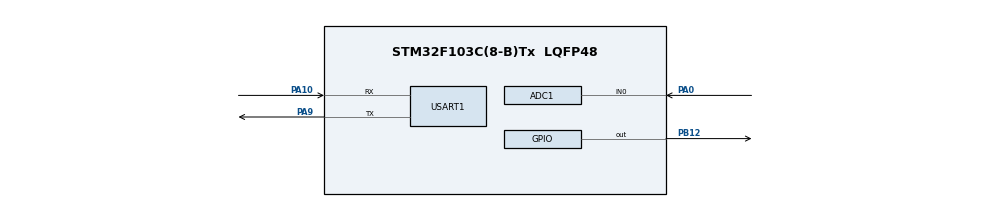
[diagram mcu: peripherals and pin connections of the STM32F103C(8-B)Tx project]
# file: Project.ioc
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ADC1.Channel-0\#ChannelRegularConversion=ADC_CHANNEL_0
ADC1.ContinuousConvMode=DISABLE
ADC1.EnableInjectedConversion=ENABLE
ADC1.ExternalTrigConv=ADC_EXTERNALTRIGCONV_T3_TRGO
ADC1.NbrOfConversion=1
ADC1.NbrOfConversionFlag=1
ADC1.Rank-0\#ChannelRegularConversion=1
ADC1.SamplingTime-0\#ChannelRegularConversion=ADC_SAMPLETIME_1CYCLE_5
ADC1.master=1
Mcu.Family=STM32F1
Mcu.Name=STM32F103C(8-B)Tx
Mcu.Package=LQFP48
NVIC.ADC1_2_IRQn=true\:0\:0\:false\:false\:true\:true\:true
NVIC.PriorityGroup=NVIC_PRIORITYGROUP_4
NVIC.TIM2_IRQn=true\:0\:0\:false\:false\:true\:true\:true
NVIC.USART1_IRQn=true\:0\:0\:false\:false\:true\:true\:true
PA0-WKUP.Signal=ADCx_IN0
PA10.Mode=Asynchronous
PA10.Signal=USART1_RX
PA13.Mode=Serial_Wire
PA13.Signal=SYS_JTMS-SWDIO
PA14.Mode=Serial_Wire
PA14.Signal=SYS_JTCK-SWCLK
PA9.Mode=Asynchronous
PA9.Signal=USART1_TX
PB12.Signal=GPIO_Output
ProjectManager.HeapSize=0x200
ProjectManager.StackSize=0x400
ProjectManager.TargetToolchain=MDK-ARM V5.27
RCC.APB1Freq_Value=8000000
RCC.APB2Freq_Value=8000000
SH.ADCx_IN0.0=ADC1_IN0,IN0
TIM2.Period=60000
TIM2.Prescaler=8000
TIM3.Period=6
TIM3.Prescaler=8000
TIM3.TIM_MasterOutputTrigger=TIM_TRGO_UPDATE
USART1.VirtualMode=VM_ASYNC
VP_TIM2_VS_ClockSourceINT.Mode=Internal
VP_TIM3_VS_ClockSourceINT.Mode=Internal
board=custom

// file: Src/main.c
/* USER CODE BEGIN Header */
/**
  ******************************************************************************
  * @file           : main.c
  * @brief          : Main program body
  ******************************************************************************
  * @attention
  *
  * <h2><center>&copy; Copyright (c) 2020 STMicroelectronics.
  * All rights reserved.</center></h2>
  *
  * This software component is licensed by ST under BSD 3-Clause license,
  * the "License"; You may not use this file except in compliance with the
  * License. You may obtain a copy of the License at:
  *                        opensource.org/licenses/BSD-3-Clause
  *
  ******************************************************************************
  */
/* USER CODE END Header */

#include "main.h"

/* USER CODE BEGIN Includes */
#include <stdio.h>
#include "string.h"
#include <stdlib.h>

#define COMMAND_SIZE 6
#define minRR 600
#define maxRR 1200
#define maxThreshold 3800
/* USER CODE END Includes */

ADC_HandleTypeDef hadc1;

TIM_HandleTypeDef htim2;
TIM_HandleTypeDef htim3;

UART_HandleTypeDef huart1;

void SystemClock_Config(void);
static void MX_GPIO_Init(void);
static void MX_USART1_UART_Init(void);
static void MX_ADC1_Init(void);
static void MX_TIM3_Init(void);
static void MX_TIM2_Init(void);

/* USER CODE BEGIN 0 */
volatile uint16_t adc_buffer[1] = {0};
uint16_t ADCValue;
char command [COMMAND_SIZE];
int lastPeekTime = 0;
int BPM;
int time1 = 0;
int time2 = 0;
int BPMcalc = 0;
int lastEdge2 = 0, lastEdge3 = 0, lastEdge4 = 0;
int detectEdge(int thisEdge);
/* USER CODE END 0 */

int main(void)
{

  /* MCU Configuration--------------------------------------------------------*/

  /* Reset of all peripherals, Initializes the Flash interface and the Systick. */
  HAL_Init();

  /* Configure the system clock */
  SystemClock_Config();

  /* Initialize all configured peripherals */
  MX_GPIO_Init();
  MX_USART1_UART_Init();
  MX_ADC1_Init();
  MX_TIM3_Init();
  MX_TIM2_Init();

  /* Infinite loop */
  /* USER CODE BEGIN WHILE */
	//start ADC
	HAL_ADC_Start_IT(&hadc1);

  while (1)
  {

    /* USER CODE END WHILE */

    /* USER CODE BEGIN 3 */
			HAL_UART_Receive_IT(&huart1,(uint8_t*) &command, sizeof(command));

	}
  /* USER CODE END 3 */
}

void SystemClock_Config(void)
{
  RCC_OscInitTypeDef RCC_OscInitStruct = {0};
  RCC_ClkInitTypeDef RCC_ClkInitStruct = {0};
  RCC_PeriphCLKInitTypeDef PeriphClkInit = {0};

  /** Initializes the CPU, AHB and APB busses clocks
  */
  RCC_OscInitStruct.OscillatorType = RCC_OSCILLATORTYPE_HSI;
  RCC_OscInitStruct.HSIState = RCC_HSI_ON;
  RCC_OscInitStruct.HSICalibrationValue = RCC_HSICALIBRATION_DEFAULT;
  RCC_OscInitStruct.PLL.PLLState = RCC_PLL_NONE;
  if (HAL_RCC_OscConfig(&RCC_OscInitStruct) != HAL_OK)
  {
    Error_Handler();
  }
  /** Initializes the CPU, AHB and APB busses clocks
  */
  RCC_ClkInitStruct.ClockType = RCC_CLOCKTYPE_HCLK|RCC_CLOCKTYPE_SYSCLK
                              |RCC_CLOCKTYPE_PCLK1|RCC_CLOCKTYPE_PCLK2;
  RCC_ClkInitStruct.SYSCLKSource = RCC_SYSCLKSOURCE_HSI;
  RCC_ClkInitStruct.AHBCLKDivider = RCC_SYSCLK_DIV1;
  RCC_ClkInitStruct.APB1CLKDivider = RCC_HCLK_DIV1;
  RCC_ClkInitStruct.APB2CLKDivider = RCC_HCLK_DIV1;

  if (HAL_RCC_ClockConfig(&RCC_ClkInitStruct, FLASH_LATENCY_0) != HAL_OK)
  {
    Error_Handler();
  }
  PeriphClkInit.PeriphClockSelection = RCC_PERIPHCLK_ADC;
  PeriphClkInit.AdcClockSelection = RCC_ADCPCLK2_DIV2;
  if (HAL_RCCEx_PeriphCLKConfig(&PeriphClkInit) != HAL_OK)
  {
    Error_Handler();
  }
}

static void MX_ADC1_Init(void)
{

  ADC_ChannelConfTypeDef sConfig = {0};

  /** Common config
  */
  hadc1.Instance = ADC1;
  hadc1.Init.ScanConvMode = ADC_SCAN_DISABLE;
  hadc1.Init.ContinuousConvMode = DISABLE;
  hadc1.Init.DiscontinuousConvMode = DISABLE;
  hadc1.Init.ExternalTrigConv = ADC_EXTERNALTRIGCONV_T3_TRGO;
  hadc1.Init.DataAlign = ADC_DATAALIGN_RIGHT;
  hadc1.Init.NbrOfConversion = 1;
  if (HAL_ADC_Init(&hadc1) != HAL_OK)
  {
    Error_Handler();
  }
  /** Configure Regular Channel
  */
  sConfig.Channel = ADC_CHANNEL_0;
  sConfig.Rank = ADC_REGULAR_RANK_1;
  sConfig.SamplingTime = ADC_SAMPLETIME_1CYCLE_5;
  if (HAL_ADC_ConfigChannel(&hadc1, &sConfig) != HAL_OK)
  {
    Error_Handler();
  }

}

static void MX_TIM2_Init(void)
{

  TIM_ClockConfigTypeDef sClockSourceConfig = {0};
  TIM_MasterConfigTypeDef sMasterConfig = {0};

  htim2.Instance = TIM2;
  htim2.Init.Prescaler = 8000;
  htim2.Init.CounterMode = TIM_COUNTERMODE_UP;
  htim2.Init.Period = 60000;
  htim2.Init.ClockDivision = TIM_CLOCKDIVISION_DIV1;
  htim2.Init.AutoReloadPreload = TIM_AUTORELOAD_PRELOAD_DISABLE;
  if (HAL_TIM_Base_Init(&htim2) != HAL_OK)
  {
    Error_Handler();
  }
  sClockSourceConfig.ClockSource = TIM_CLOCKSOURCE_INTERNAL;
  if (HAL_TIM_ConfigClockSource(&htim2, &sClockSourceConfig) != HAL_OK)
  {
    Error_Handler();
  }
  sMasterConfig.MasterOutputTrigger = TIM_TRGO_RESET;
  sMasterConfig.MasterSlaveMode = TIM_MASTERSLAVEMODE_DISABLE;
  if (HAL_TIMEx_MasterConfigSynchronization(&htim2, &sMasterConfig) != HAL_OK)
  {
    Error_Handler();
  }

}

static void MX_TIM3_Init(void)
{

  TIM_ClockConfigTypeDef sClockSourceConfig = {0};
  TIM_MasterConfigTypeDef sMasterConfig = {0};

  htim3.Instance = TIM3;
  htim3.Init.Prescaler = 8000;
  htim3.Init.CounterMode = TIM_COUNTERMODE_UP;
  htim3.Init.Period = 6;
  htim3.Init.ClockDivision = TIM_CLOCKDIVISION_DIV1;
  htim3.Init.AutoReloadPreload = TIM_AUTORELOAD_PRELOAD_DISABLE;
  if (HAL_TIM_Base_Init(&htim3) != HAL_OK)
  {
    Error_Handler();
  }
  sClockSourceConfig.ClockSource = TIM_CLOCKSOURCE_INTERNAL;
  if (HAL_TIM_ConfigClockSource(&htim3, &sClockSourceConfig) != HAL_OK)
  {
    Error_Handler();
  }
  sMasterConfig.MasterOutputTrigger = TIM_TRGO_UPDATE;
  sMasterConfig.MasterSlaveMode = TIM_MASTERSLAVEMODE_DISABLE;
  if (HAL_TIMEx_MasterConfigSynchronization(&htim3, &sMasterConfig) != HAL_OK)
  {
    Error_Handler();
  }

}

static void MX_USART1_UART_Init(void)
{

  huart1.Instance = USART1;
  huart1.Init.BaudRate = 115200;
  huart1.Init.WordLength = UART_WORDLENGTH_8B;
  huart1.Init.StopBits = UART_STOPBITS_1;
  huart1.Init.Parity = UART_PARITY_NONE;
  huart1.Init.Mode = UART_MODE_TX_RX;
  huart1.Init.HwFlowCtl = UART_HWCONTROL_NONE;
  huart1.Init.OverSampling = UART_OVERSAMPLING_16;
  if (HAL_UART_Init(&huart1) != HAL_OK)
  {
    Error_Handler();
  }

}

static void MX_GPIO_Init(void)
{
  GPIO_InitTypeDef GPIO_InitStruct = {0};

  /* GPIO Ports Clock Enable */
  __HAL_RCC_GPIOA_CLK_ENABLE();
  __HAL_RCC_GPIOB_CLK_ENABLE();

  /*Configure GPIO pin Output Level */
//  HAL_GPIO_WritePin(GPIOB, GPIO_PIN_12, GPIO_PIN_RESET);

  /*Configure GPIO pin : PB12 */
  GPIO_InitStruct.Pin = GPIO_PIN_12;
  GPIO_InitStruct.Mode = GPIO_MODE_OUTPUT_PP;
  GPIO_InitStruct.Pull = GPIO_NOPULL;
  GPIO_InitStruct.Speed = GPIO_SPEED_FREQ_LOW;
  HAL_GPIO_Init(GPIOB, &GPIO_InitStruct);

}

/* USER CODE BEGIN 4 */
////////////////////////////////////////
// called when ADC conversion is complete
////////////////////////////////////////
int detectEdge(int thisEdge){
	// check that slope is increasing and value is greater than threshold
	if (thisEdge > maxThreshold && thisEdge > lastEdge2 && lastEdge2 > lastEdge3 && lastEdge3 > lastEdge4){
		int currTime = __HAL_TIM_GET_COUNTER(& htim2);
		// check that time between 2 peaks is greater than min RR interval
		if((currTime - lastPeekTime) >= minRR){
			// first peak not recorded
			if (time1 == 0){
				time1 = currTime;
				HAL_GPIO_WritePin(GPIOB, GPIO_PIN_12, GPIO_PIN_SET);
			}
			// check that time between 2 peaks is greater than max RR interval to reset peak
			else if ((currTime - time1) > maxRR){
				time1 = currTime;
				HAL_GPIO_WritePin(GPIOB, GPIO_PIN_12, GPIO_PIN_SET);
			}
			// second peak not recorded
			else if (time2 == 0){
				time2 = currTime;
				BPMcalc = 1;
				HAL_GPIO_WritePin(GPIOB, GPIO_PIN_12, GPIO_PIN_RESET);
			}
			lastPeekTime = currTime;
			return  1;
		}
	}
	return 0;
}

////////////////////////////////////////
// called when ADC conversion is complete
////////////////////////////////////////
void HAL_ADC_ConvCpltCallback(ADC_HandleTypeDef* hadc){
  /* This is called after the conversion is completed */
	UNUSED(hadc);

	// read ADC converted value
	ADCValue = HAL_ADC_GetValue(&hadc1);

	if (BPMcalc == 0){
		//leave out first 12 seconds as ECG signals are noisy at beginning due to posture
		if (__HAL_TIM_GET_COUNTER(&htim2) >= 12000){
			detectEdge(ADCValue);
		}
		// buffering last 3 edges
		lastEdge4 = lastEdge3;
		lastEdge3 = lastEdge2;
		lastEdge2 = ADCValue;
	}

	//convert to string and transmit over UART
	char buffer[10];
	int n = sprintf (buffer, "%d", ADCValue);
	buffer[n] = '\r';
	buffer[n+1] = '\n';
	for (int i = 0; i < (n+2); i++){
		HAL_UART_Transmit(&huart1,(uint8_t *) &buffer[i], sizeof(buffer[i]), 10);
	}
}
////////////////////////////////////////
// Called whenever UART receive IT is done
////////////////////////////////////////
void HAL_UART_RxCpltCallback(UART_HandleTypeDef *huart){
	if (huart->Instance == USART1){
//		HAL_GPIO_TogglePin(GPIOB, GPIO_PIN_12);
		//////////////////
		//command to start collecting 1 min worth of data
		//////////////////
		if(command[0] == 's' && command[1] == 't' && command[2] == 'a' && command[3] == 'r' && command[4] == 't'){
			BPMcalc = 0;
			time1 = 0;
			time2 = 0;
			lastEdge2 = 0, lastEdge3 = 0, lastEdge4 = 0;

			// set counters of timers to 0
			__HAL_TIM_SET_COUNTER(&htim2, 0);
			__HAL_TIM_SET_COUNTER(&htim3, 0);
			//start timer 3 that is sampling trigger for ADC
			HAL_TIM_Base_Start(&htim3);
			//start timer 3 that counts 1 minute
			HAL_TIM_Base_Start_IT(&htim2);

			HAL_UART_Transmit(&huart1,(uint8_t *) command, sizeof(command), 100);
			char endLine[2] = "\r\n";
			HAL_UART_Transmit(&huart1,(uint8_t *) endLine, sizeof(endLine), 100);

		}
		//////////////////
		//command to set sampling rate
		//////////////////
		else if (command[0] == 'f' && command[1] == '='){
			//Get numerical value of freuqncy as string
			char freq[COMMAND_SIZE - 1];
			for (int i = 0; i < (COMMAND_SIZE - 2); i++){
				freq[i] = command[2+i];
			}
			freq[COMMAND_SIZE - 2] = '\0';
			//convert the frequency to integer
			const char * temp = freq;
			int f;
			f = atoi(temp);
			//compute the time
			int time = 1000.0 / f;

			// set counters of timers to 0
			__HAL_TIM_SET_COUNTER(&htim2, 0);
			__HAL_TIM_SET_COUNTER(&htim3, 0);
			//change the value of period register to time
			__HAL_TIM_SET_AUTORELOAD(&htim3, time);

			HAL_UART_Transmit(&huart1,(uint8_t *) command, sizeof(command), 100);
			char endLine[2] = "\r\n";
			HAL_UART_Transmit(&huart1,(uint8_t *) endLine, sizeof(endLine), 100);
		}
		//////////////////
		// command to get bpm
		//////////////////
		else if (command[0] == 'b' && command[1] == 'p' && command[2] == 'm'){
				//compute and UART transmit BPM

//				float numberOfSquares = (time2 - time1) / 200.0;
//
//				float BPM = 300 / numberOfSquares;
				float BPM = 60 / ((time2 - time1)/1000.0);

				char c[4] = "bpm=";
				HAL_UART_Transmit(&huart1,(uint8_t *) c, sizeof(c), 100);

				char buffer [32];
				int n = sprintf (buffer, "%f", BPM);
				buffer[n] = '\r';
				buffer[n+1] = '\n';
				for (int i = 0; i < (n+2); i++){
					HAL_UART_Transmit(&huart1,(uint8_t *) &buffer[i], sizeof(buffer[i]), 10);
				}
		}
		else {
			char buffer[12] = "no command\r\n";
			HAL_UART_Transmit(&huart1,(uint8_t *) buffer, sizeof(buffer), 100);
		}
	}
}
////////////////////////////////////////
// Called when every UART byte is received
////////////////////////////////////////
void USART1_IRQHandler(void)
{
  /* USER CODE BEGIN USART1_IRQn 0 */

  /* USER CODE END USART1_IRQn 0 */
  HAL_UART_IRQHandler(&huart1);
  /* USER CODE BEGIN USART1_IRQn 1 */

  /* USER CODE END USART1_IRQn 1 */
}
////////////////////////////////////////
// Called when timer period has elapsed
////////////////////////////////////////
void HAL_TIM_PeriodElapsedCallback(TIM_HandleTypeDef *htim)
{
  /* Prevent unused argument(s) compilation warning */
  UNUSED(htim);

	// 1 min elapsed for timer 2
	if (htim->Instance == TIM2){
		if (__HAL_TIM_GET_FLAG(&htim2, TIM_FLAG_CC1) != RESET){
			// Stop timer 2
			HAL_TIM_Base_Stop(&htim2);
			// Stop timer 3
			HAL_TIM_Base_Stop(&htim3);
		}
	}
}

/* USER CODE END 4 */

void Error_Handler(void)
{
}

/************************ (C) COPYRIGHT STMicroelectronics *****END OF FILE****/
